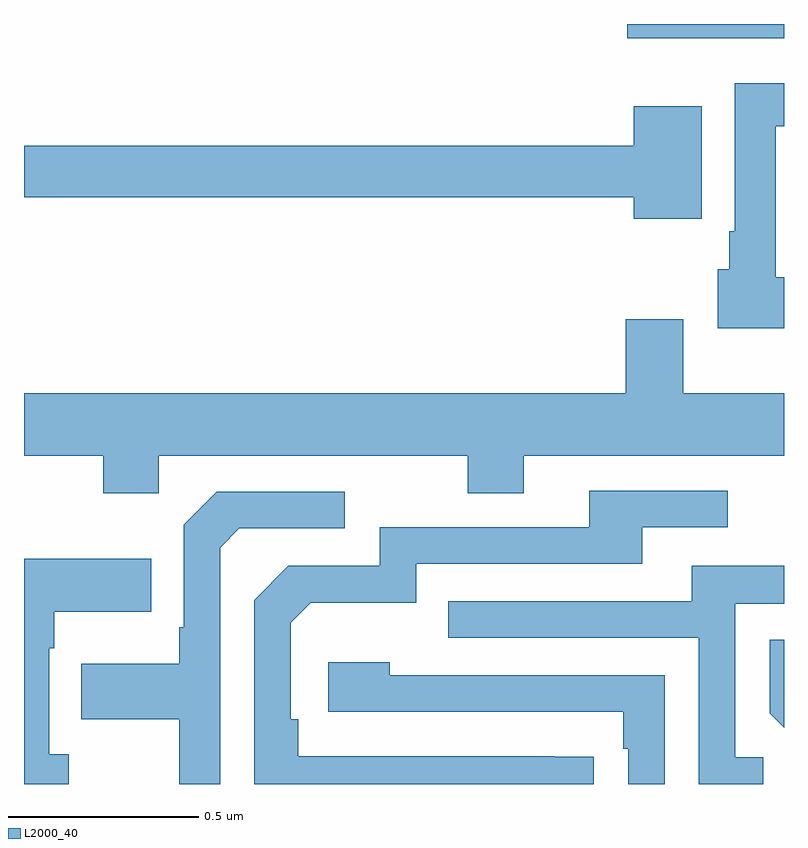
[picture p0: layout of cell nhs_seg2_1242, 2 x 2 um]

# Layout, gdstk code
import gdstk
lib = gdstk.Library(unit=1e-6, precision=1e-09)
def R(c, l, rs):  # rectangles x0, y0, x1, y1
    for r in rs: c.add(gdstk.rectangle(r[:2], r[2:], *l))
def P(c, l, *ps):  # polygons
    for p in ps: c.add(gdstk.Polygon(p, *l))
L2000_40 = (2000, 40)

nhs_seg2_1242 = lib.new_cell('nhs_seg2_1242')
R(nhs_seg2_1242, L2000_40, [(127.587,620.763,128,620.8)])
P(nhs_seg2_1242, L2000_40, [(128,620.134),(127.978,620.134),(127.978,620.531),(128,620.531),(128,620.644),(127.871,620.644),(127.871,620.254),(127.856,620.254),(127.856,620.154),(127.826,620.154),(127.826,620),(128,620)],
  [(127.783,620.584),(127.604,620.584),(127.604,620.48),(126,620.48),(126,620.344),(127.604,620.344),(127.604,620.288),(127.783,620.288)],
  [(126.354,619.664),(127.168,619.664),(127.168,619.565),(127.315,619.565),(127.315,619.664),(128,619.664),(128,619.828),(127.735,619.828),(127.735,620.023),(127.583,620.023),(127.583,619.828),(126,619.828),(126,619.664),(126.208,619.664),(126.208,619.565),(126.354,619.565)],
  [(127.499,618.872),(127.397,618.872),(127.397,618.873),(126.722,618.873),(126.722,618.97),(126.702,618.97),(126.702,619.224),(126.755,619.277),(127.032,619.277),(127.032,619.38),(127.627,619.38),(127.627,619.476),(127.852,619.476),(127.852,619.572),(127.487,619.572),(127.487,619.476),(126.936,619.476),(126.936,619.374),(126.696,619.374),(126.606,619.284),(126.606,618.8),(127.499,618.8)],
  [(126.516,619.422),(126.567,619.473),(126.844,619.473),(126.844,619.569),(126.507,619.569),(126.42,619.482),(126.42,619.213),(126.408,619.213),(126.408,619.117),(126.151,619.117),(126.151,618.97),(126.408,618.97),(126.408,618.8),(126.516,618.8)],
  [(126.118,618.878),(126.066,618.878),(126.066,619.157),(126.079,619.157),(126.079,619.253),(126.335,619.253),(126.335,619.393),(126,619.393),(126,618.8),(126.118,618.8)],
  [(127.945,618.87),(127.872,618.87),(127.872,619.275),(128,619.275),(128,619.375),(127.757,619.375),(127.757,619.281),(127.117,619.281),(127.117,619.185),(127.776,619.185),(127.776,618.8),(127.945,618.8)],
  [(128,619.18),(127.962,619.18),(127.962,618.986),(128,618.948)],
  [(127.686,619.086),(126.962,619.086),(126.962,619.12),(126.801,619.12),(126.801,618.99),(127.577,618.99),(127.577,618.893),(127.59,618.893),(127.59,618.8),(127.686,618.8)])

lib.write_gds('nhs_seg2_1242.gds')
